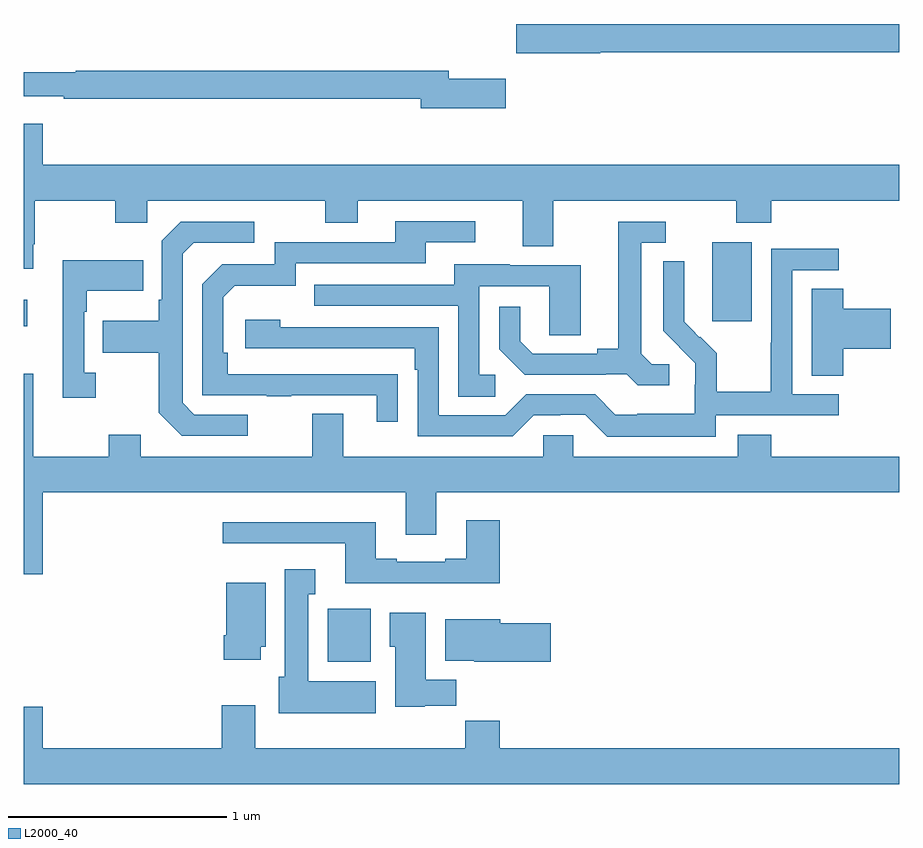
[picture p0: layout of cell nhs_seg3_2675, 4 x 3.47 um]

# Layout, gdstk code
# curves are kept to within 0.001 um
import gdstk
lib = gdstk.Library(unit=1e-6, precision=1e-09)
def R(c, l, rs):  # rectangles x0, y0, x1, y1
    for r in rs: c.add(gdstk.rectangle(r[:2], r[2:], *l))
def P(c, l, *ps):  # polygons
    for p in ps: c.add(gdstk.Polygon(p, *l))
L2000_40 = (2000, 40)

nhs_seg3_2675 = lib.new_cell('nhs_seg3_2675')
R(nhs_seg3_2675, L2000_40, [(250.388,689.486,250.585,689.728), (249,691.019,249.016,691.141), (252.146,691.041,252.325,691.402)])
P(nhs_seg3_2675, L2000_40, [(251.634,692.272),(253,692.272),(253,692.4),(251.25,692.4),(251.25,692.267),(251.634,692.267)],
  [(251.203,692.15),(250.942,692.15),(250.942,692.186),(249.238,692.186),(249.238,692.179),(249,692.179),(249,692.07),(249.184,692.07),(249.184,692.058),(250.814,692.058),(250.814,692.015),(251.203,692.015)],
  [(249.043,691.393),(249.051,691.393),(249.051,691.592),(249.418,691.592),(249.418,691.493),(249.564,691.493),(249.564,691.592),(250.378,691.592),(250.378,691.493),(250.525,691.493),(250.525,691.592),(251.279,691.592),(251.279,691.384),(251.419,691.384),(251.419,691.592),(252.256,691.592),(252.256,691.493),(252.416,691.493),(252.416,691.592),(253,691.592),(253,691.756),(249.088,691.756),(249.088,691.945),(249,691.945),(249,691.281),(249.043,691.281)],
  [(250.709,690.8),(249.932,690.801),(249.932,690.898),(249.912,690.898),(249.912,691.152),(249.965,691.205),(250.242,691.205),(250.242,691.308),(250.837,691.308),(250.837,691.404),(251.062,691.404),(251.062,691.5),(250.697,691.5),(250.697,691.404),(250.146,691.404),(250.146,691.302),(249.906,691.302),(249.816,691.212),(249.816,690.705),(250.111,690.705),(250.111,690.7),(250.223,690.7),(250.223,690.705),(250.613,690.705),(250.613,690.582),(250.709,690.582)],
  [(251.95,690.846),(251.868,690.846),(251.821,690.893),(251.821,691.401),(251.932,691.401),(251.932,691.497),(251.717,691.497),(251.717,690.917),(251.621,690.917),(251.621,690.894),(251.326,690.894),(251.269,690.951),(251.269,691.108),(251.172,691.108),(251.172,690.914),(251.288,690.798),(251.66,690.798),(251.66,690.801),(251.754,690.801),(251.806,690.749),(251.95,690.749)],
  [(250.024,690.615),(249.78,690.615),(249.726,690.669),(249.726,691.35),(249.777,691.401),(250.054,691.401),(250.054,691.497),(249.717,691.497),(249.63,691.41),(249.63,691.141),(249.618,691.141),(249.618,691.045),(249.361,691.045),(249.361,690.898),(249.618,690.898),(249.618,690.625),(249.723,690.519),(250.024,690.519)],
  [(252.162,690.612),(252.724,690.612),(252.724,690.708),(252.51,690.708),(252.51,691.275),(252.724,691.275),(252.724,691.374),(252.414,691.374),(252.414,690.944),(252.412,690.944),(252.412,690.721),(252.167,690.721),(252.167,690.895),(252.09,690.972),(252.087,690.969),(252.017,691.04),(252.018,691.316),(251.922,691.316),(251.922,690.998),(252.068,690.85),(252.068,690.753),(252.066,690.753),(252.066,690.619),(251.803,690.619),(251.803,690.615),(251.703,690.615),(251.61,690.708),(251.295,690.708),(251.199,690.612),(250.896,690.612),(250.896,691.014),(250.172,691.014),(250.172,691.048),(250.011,691.048),(250.011,690.918),(250.787,690.918),(250.787,690.821),(250.8,690.821),(250.8,690.516),(251.235,690.516),(251.331,690.612),(251.45,690.612),(251.45,690.615),(251.565,690.615),(251.665,690.515),(252.162,690.515)],
  [(249.328,690.806),(249.276,690.806),(249.276,691.085),(249.289,691.085),(249.289,691.181),(249.545,691.181),(249.545,691.321),(249.179,691.321),(249.179,690.693),(249.328,690.693)],
  [(251.155,690.798),(251.082,690.798),(251.082,691.203),(251.4,691.203),(251.4,690.979),(251.545,690.979),(251.545,691.299),(251.221,691.299),(251.221,691.303),(250.967,691.303),(250.967,691.209),(250.327,691.209),(250.327,691.113),(250.986,691.113),(250.986,690.697),(251.155,690.697)],
  [(252.743,690.917),(252.961,690.917),(252.961,691.1),(252.743,691.1),(252.743,691.19),(252.599,691.19),(252.599,690.793),(252.743,690.793)],
  [(249.088,690.26),(250.745,690.26),(250.745,690.066),(250.885,690.066),(250.885,690.26),(253,690.26),(253,690.424),(252.416,690.424),(252.416,690.523),(252.263,690.523),(252.263,690.424),(251.511,690.424),(251.511,690.522),(251.373,690.522),(251.373,690.424),(250.459,690.424),(250.459,690.619),(250.319,690.619),(250.319,690.424),(249.535,690.424),(249.535,690.523),(249.388,690.523),(249.388,690.424),(249.043,690.424),(249.043,690.802),(249,690.802),(249,689.886),(249.088,689.886)],
  [(251.174,690.133),(251.021,690.133),(251.021,689.956),(250.925,689.956),(250.925,689.943),(250.705,689.943),(250.705,689.956),(250.609,689.956),(250.609,690.124),(249.909,690.124),(249.909,690.027),(250.469,690.027),(250.469,689.846),(251.174,689.846)],
  [(250.609,689.398),(250.3,689.398),(250.3,689.795),(250.333,689.795),(250.333,689.908),(250.193,689.908),(250.193,689.418),(250.166,689.418),(250.166,689.252),(250.609,689.252)],
  [(250.084,689.556),(250.105,689.556),(250.105,689.848),(249.926,689.848),(249.926,689.608),(249.914,689.608),(249.914,689.496),(250.084,689.496)],
  [(250.833,689.286),(250.976,689.286),(250.976,689.404),(250.837,689.404),(250.837,689.71),(250.673,689.71),(250.673,689.556),(250.697,689.556),(250.697,689.282),(250.833,689.282)],
  [(251.407,689.663),(251.176,689.663),(251.176,689.68),(250.925,689.68),(250.925,689.492),(251.058,689.492),(251.058,689.486),(251.407,689.486)],
  [(253,689.092),(251.174,689.092),(251.174,689.216),(251.017,689.216),(251.017,689.092),(250.057,689.092),(250.057,689.287),(249.905,689.287),(249.905,689.092),(249.088,689.092),(249.088,689.281),(249,689.281),(249,688.928),(253,688.928)])

lib.write_gds('nhs_seg3_2675.gds')
